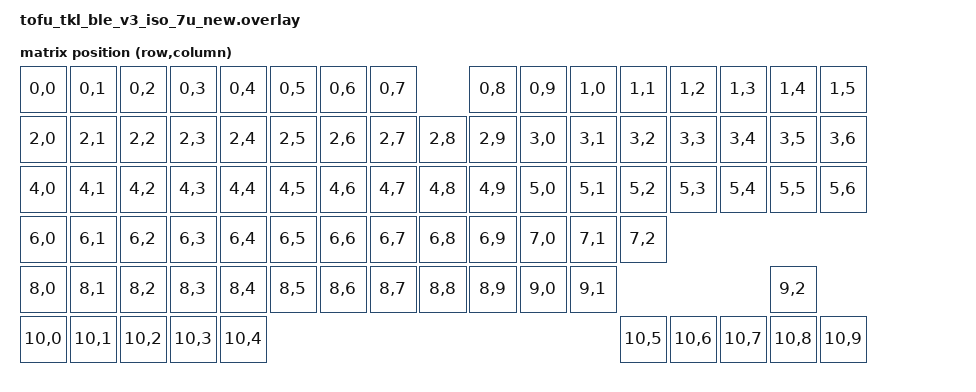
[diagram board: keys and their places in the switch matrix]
#include <dt-bindings/zmk/matrix_transform.h>
#include <physical_layouts.dtsi>
#include "common.overlay"


/ {
    matrix_transform_0: matrix_transform_0 {
        compatible = "zmk,matrix-transform";
        columns = <17>;
        rows = <6>; 

        map = <
RC(0,0) RC(0,1) RC(0,2) RC(0,3) RC(0,4)  RC(0,5) RC(0,6) RC(0,7) RC(0,8)  RC(0,9) RC(1,0) RC(1,1) RC(1,2)             RC(1,3) RC(1,4) RC(1,5)
RC(2,0) RC(2,1) RC(2,2) RC(2,3) RC(2,4) RC(2,5) RC(2,6) RC(2,7) RC(2,8) RC(2,9) RC(3,0) RC(3,1) RC(3,2) RC(3,3)        RC(3,4) RC(3,5) RC(3,6)
RC(4,0) RC(4,1) RC(4,2) RC(4,3) RC(4,4) RC(4,5) RC(4,6) RC(4,7) RC(4,8) RC(4,9) RC(5,0) RC(5,1) RC(5,2) RC(5,3)        RC(5,4) RC(5,5) RC(5,6)
RC(6,0) RC(6,1) RC(6,2) RC(6,3) RC(6,4) RC(6,5) RC(6,6) RC(6,7) RC(6,8) RC(6,9) RC(7,0) RC(7,1) RC(7,2)
RC(8,0) RC(8,1) RC(8,2) RC(8,3) RC(8,4) RC(8,5) RC(8,6) RC(8,7) RC(8,8) RC(8,9) RC(9,0) RC(9,1)                                RC(9,2)
RC(10,0) RC(10,1) RC(10,2)         RC(10,3)         RC(10,4) RC(10,5) RC(10,6)                                        RC(10,7) RC(10,8) RC(10,9)
        >;
    };


    layout0: layout0 {
        compatible = "zmk,physical-layout";
        display-name = "Torsten_Test";
        transform = <&matrix_transform_0>;

        keys =    ROWF0_FIXED , ROW0_BS_2U
                , ROW1_FIXED , ROW1_ISO
                , ROW2_FIXED , ROW2_ISO //Enter
                , ROW3_RSFT_225U  , ROW3_FIXED , ROW3_RSFT_275U, ROW3_FIXED2
                , SPC_7U, ROW4_FIXED;
    };

    layouts_this_position_map {
        compatible = "zmk,physical-layout-position-map";
        complete;

        //iso, bs: 2u, rshift: 2.75u
        position_map0: position_map0 {
            physical-layout = <&layout0>;
            positions
                = < 0     1  2  3  4   5  6  7  8    9 10 11 12     13 14 15>
                , <16 17 18 19 20 21 22 23 24 25 26 27 28      29   30 31 32>
                , <33  34 35 36 37 38 39 40 41 42 43 44 45  46      47 48 49>
                , < 50  51 52 53 54 55 56 57 58 59 60 61  62                >
                , <63  64 65 66 67 68 69 70 71 72 73 74  75            76   >
                , <77  78  79       80             81  82  83       84 85 86>;
        };
    };
};
